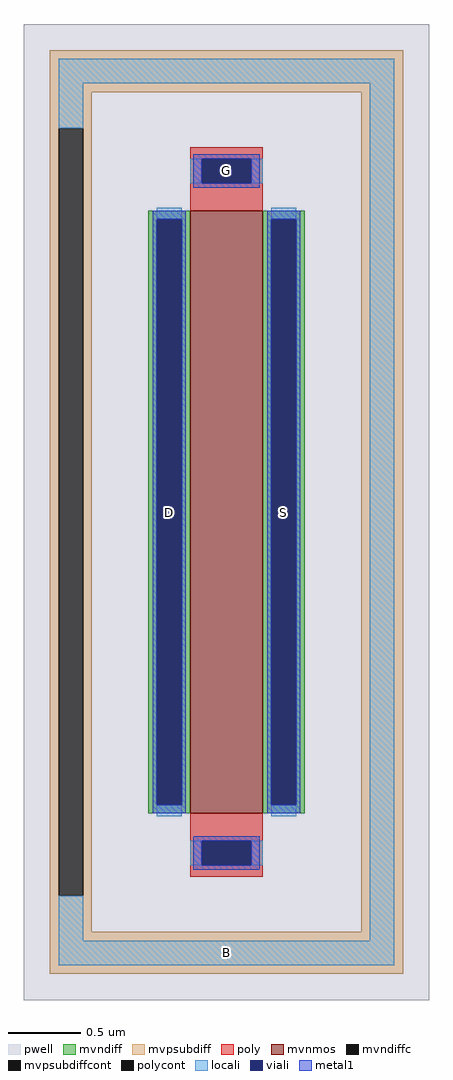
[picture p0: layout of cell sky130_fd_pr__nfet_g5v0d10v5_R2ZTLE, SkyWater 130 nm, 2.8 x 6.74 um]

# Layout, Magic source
magic
tech sky130A
magscale 1 2
<< pwell >>
rect -280 -674 280 674
<< mvnmos >>
rect -50 -416 50 416
<< mvndiff >>
rect -108 404 -50 416
rect -108 -404 -96 404
rect -62 -404 -50 404
rect -108 -416 -50 -404
rect 50 404 108 416
rect 50 -404 62 404
rect 96 -404 108 404
rect 50 -416 108 -404
<< mvndiffc >>
rect -96 -404 -62 404
rect 62 -404 96 404
<< mvpsubdiff >>
rect -244 580 244 638
rect -244 530 -186 580
rect -244 -530 -232 530
rect -198 -530 -186 530
rect -244 -580 -186 -530
rect 186 -580 244 580
rect -244 -638 244 -580
<< mvpsubdiffcont >>
rect -232 -530 -198 530
<< poly >>
rect -50 488 50 504
rect -50 454 -34 488
rect 34 454 50 488
rect -50 416 50 454
rect -50 -454 50 -416
rect -50 -488 -34 -454
rect 34 -488 50 -454
rect -50 -504 50 -488
<< polycont >>
rect -34 454 34 488
rect -34 -488 34 -454
<< locali >>
rect -232 592 232 626
rect -232 530 -198 592
rect -50 454 -34 488
rect 34 454 50 488
rect -96 404 -62 420
rect -96 -420 -62 -404
rect 62 404 96 420
rect 62 -420 96 -404
rect -50 -488 -34 -454
rect 34 -488 50 -454
rect -232 -592 -198 -530
rect 198 -592 232 592
rect -232 -626 232 -592
<< viali >>
rect -34 454 34 488
rect -96 -404 -62 404
rect 62 -404 96 404
rect -34 -488 34 -454
<< metal1 >>
rect -46 488 46 494
rect -46 454 -34 488
rect 34 454 46 488
rect -46 448 46 454
rect -102 404 -56 416
rect -102 -404 -96 404
rect -62 -404 -56 404
rect -102 -416 -56 -404
rect 56 404 102 416
rect 56 -404 62 404
rect 96 -404 102 404
rect 56 -416 102 -404
rect -46 -454 46 -448
rect -46 -488 -34 -454
rect 34 -488 46 -454
rect -46 -494 46 -488
<< labels >>
rlabel mvpsubdiff 0 -609 0 -609 0 B
port 1 nsew
rlabel mvndiffc -79 0 -79 0 0 D
port 2 nsew
rlabel mvndiffc 79 0 79 0 0 S
port 3 nsew
rlabel polycont 0 471 0 471 0 G
port 4 nsew
<< properties >>
string FIXED_BBOX -215 -609 215 609
string gencell sky130_fd_pr__nfet_g5v0d10v5
string library sky130
string parameters w 4.16 l 0.5 m 1 nf 1 diffcov 100 polycov 100 guard 1 glc 1 grc 0 gtc 0 gbc 0 tbcov 100 rlcov 100 topc 1 botc 1 poverlap 0 doverlap 1 lmin 0.50 wmin 0.42 class mosfet compatible {sky130_fd_pr__nfet_01v8 sky130_fd_pr__nfet_01v8_lvt  sky130_fd_bs_flash__special_sonosfet_star  sky130_fd_pr__nfet_g5v0d10v5 sky130_fd_pr__nfet_05v0_nvt  sky130_fd_pr__nfet_03v3_nvt} full_metal 1 conn_gates 0 viasrc 100 viadrn 100 viagate 100 viagb 0 viagr 0 viagl 0 viagt 0 doports 1
<< end >>
